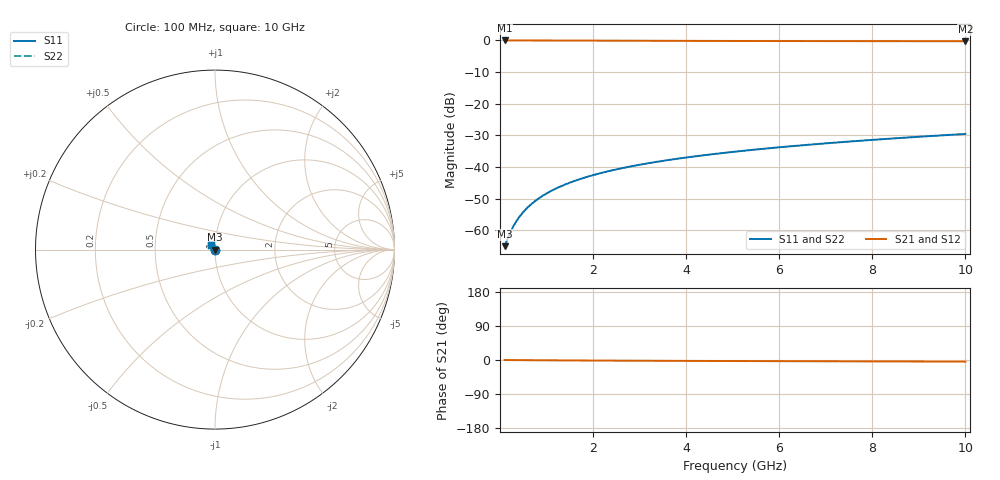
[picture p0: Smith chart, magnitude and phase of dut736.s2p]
! Touchstone file exported from HFSS 2024.1.0
!  File:  C:/UserFiles/LocalFiles/RDL_TSV_Batchsim/temp_TSV1_736_1779869798.aedt
!  Generated:  04:23:02 PM May 27, 2026
!  Design:  TSV1
!  Project:  temp_TSV1_736_1779869798
!  Setup:  Setup1
!  Solution:  Sweep
! Variables:
!  dtsv = 5.19um
!  hbump = 3um
!  htsv = 58.54um
!  lrdl = 252.1521522um
!  p = 40
!  p1 = 53.67um
!  t = 500um
!  trdl = 3um
!  wrdl = 24.89489489um
# GHz S MA R 50.000000
! Terminal data exported
! Port[1] = TSV22_T1
! Port[2] = TSV22_T2
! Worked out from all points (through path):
!   100 points, 100 MHz to 10 GHz, reference 50 ohm
!   highest |S21| = 0.00 dB at 100 MHz (marker M1); lowest = -0.2 dB at 10 GHz (marker M2)
!   lowest |S11| = -65.0 dB at 100 MHz (marker M3), VSWR 1.00, Z = 50 - j0.0394 ohm
!   |S11| at or under -10 dB: start of sweep to end of sweep
!   |S22| runs from -65.0 to -29.5 dB; largest |S21 - S12| = 1e-15
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0.1  0.0005629 -44.4  0.9996 -0.1  0.9996 -0.1  0.0005629 -44.4
! Gamma 0 0 0 0
! Port Impedance 50 0 50 0
0.2  0.0008583 -66.8  0.9995 -0.2  0.9995 -0.2  0.0008583 -66.8
0.3  0.001205 -78.7  0.9994 -0.2  0.9994 -0.2  0.001205 -78.7
0.4  0.001571 -86.4  0.9992 -0.3  0.9992 -0.3  0.001571 -86.4
0.5  0.001944 -92.1  0.9991 -0.4  0.9991 -0.4  0.001944 -92.1
0.6  0.00232 -96.9  0.9988 -0.5  0.9988 -0.5  0.00232 -96.9
0.7  0.002696 -101.0  0.9986 -0.6  0.9986 -0.6  0.002696 -101.0
0.9  0.003448 -108.3  0.998 -0.7  0.998 -0.7  0.003448 -108.3
1  0.003822 -111.6  0.9977 -0.8  0.9977 -0.8  0.003822 -111.6
1.2  0.004565 -117.7  0.9969 -0.9  0.9969 -0.9  0.004565 -117.7
1.5  0.005664 -126.3  0.9957 -1.1  0.9957 -1.1  0.005664 -126.3
1.8  0.006743 -134.1  0.9943 -1.3  0.9943 -1.3  0.006743 -134.1
2.1  0.007802 -141.4  0.9929 -1.5  0.9929 -1.5  0.007802 -141.4
2.5  0.009184 -150.4  0.9909 -1.7  0.9909 -1.7  0.009184 -150.4
2.9  0.01054 -158.5  0.989 -1.9  0.989 -1.9  0.01054 -158.5
3.4  0.01219 -167.7  0.9868 -2.1  0.9868 -2.1  0.01219 -167.7
4.2  0.01478 179.8  0.9837 -2.4  0.9837 -2.4  0.01478 179.8
5.1  0.01766 168.2  0.9808 -2.7  0.9808 -2.7  0.01766 168.2
5.9  0.02019 159.8  0.9787 -3.0  0.9787 -3.0  0.02019 159.8
6.7  0.02273 152.8  0.9771 -3.3  0.9771 -3.3  0.02273 152.8
8.4  0.02816 141.1  0.9745 -3.8  0.9745 -3.8  0.02816 141.1
10  0.03332 133.0  0.9726 -4.3  0.9726 -4.3  0.03332 133.0
